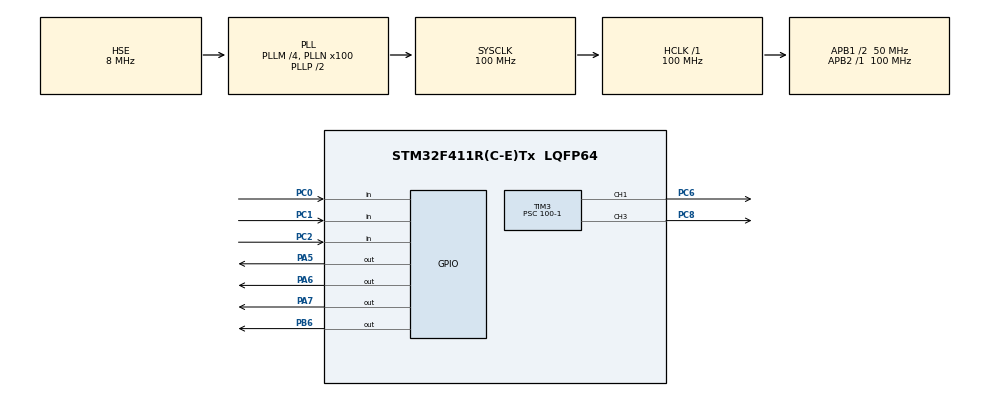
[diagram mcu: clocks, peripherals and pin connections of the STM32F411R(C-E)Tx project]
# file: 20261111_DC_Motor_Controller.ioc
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Mcu.Family=STM32F4
Mcu.Name=STM32F411R(C-E)Tx
Mcu.Package=LQFP64
NVIC.PriorityGroup=NVIC_PRIORITYGROUP_4
NVIC.TIM1_UP_TIM10_IRQn=true\:15\:0\:false\:false\:true\:false\:true\:true
NVIC.TimeBase=TIM1_UP_TIM10_IRQn
NVIC.TimeBaseIP=TIM10
PA13.Mode=Serial_Wire
PA13.Signal=SYS_JTMS-SWDIO
PA14.Mode=Serial_Wire
PA14.Signal=SYS_JTCK-SWCLK
PA5.Signal=GPIO_Output
PA6.Signal=GPIO_Output
PA7.Signal=GPIO_Output
PB6.Signal=GPIO_Output
PC0.Signal=GPIO_Input
PC1.Signal=GPIO_Input
PC2.Signal=GPIO_Input
PC6.Signal=S_TIM3_CH1
PC8.Signal=S_TIM3_CH3
PH0\ -\ OSC_IN.Mode=HSE-External-Oscillator
PH0\ -\ OSC_IN.Signal=RCC_OSC_IN
PH1\ -\ OSC_OUT.Mode=HSE-External-Oscillator
PH1\ -\ OSC_OUT.Signal=RCC_OSC_OUT
ProjectManager.HeapSize=0x200
ProjectManager.StackSize=0x400
ProjectManager.TargetToolchain=STM32CubeIDE
RCC.48MHZClocksFreq_Value=50000000
RCC.AHBFreq_Value=100000000
RCC.APB1CLKDivider=RCC_HCLK_DIV2
RCC.APB1Freq_Value=50000000
RCC.APB1TimFreq_Value=100000000
RCC.APB2Freq_Value=100000000
RCC.APB2TimFreq_Value=100000000
RCC.CortexFreq_Value=100000000
RCC.HCLKFreq_Value=100000000
RCC.HSE_VALUE=8000000
RCC.HSI_VALUE=16000000
RCC.LSE_VALUE=32768
RCC.PLLM=4
RCC.PLLN=100
RCC.PLLSourceVirtual=RCC_PLLSOURCE_HSE
RCC.SYSCLKFreq_VALUE=100000000
RCC.SYSCLKSource=RCC_SYSCLKSOURCE_PLLCLK
RCC.VCOOutputFreq_Value=200000000
SH.S_TIM3_CH1.0=TIM3_CH1,PWM Generation1 CH1
SH.S_TIM3_CH3.0=TIM3_CH3,PWM Generation3 CH3
TIM3.AutoReloadPreload=TIM_AUTORELOAD_PRELOAD_ENABLE
TIM3.Channel-PWM\ Generation1\ CH1=TIM_CHANNEL_1
TIM3.Channel-PWM\ Generation3\ CH3=TIM_CHANNEL_3
TIM3.Period=1000-1
TIM3.Prescaler=100-1
VP_SYS_VS_tim10.Mode=TIM10
VP_TIM3_VS_ClockSourceINT.Mode=Internal
board=custom

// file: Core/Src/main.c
/* USER CODE BEGIN Header */
/**
 ******************************************************************************
 * @file           : main.c
 * @brief          : Main program body
 ******************************************************************************
 * @attention
 *
 * Copyright (c) 2026 STMicroelectronics.
 * All rights reserved.
 *
 * This software is licensed under terms that can be found in the LICENSE file
 * in the root directory of this software component.
 * If no LICENSE file comes with this software, it is provided AS-IS.
 *
 ******************************************************************************
 */
/* USER CODE END Header */
#include "main.h"

/* USER CODE BEGIN Includes */
#include "driver/button/button.h"
#include "driver/DC_Motor/dcmotor.h"
/* USER CODE END Includes */

TIM_HandleTypeDef htim3;

void SystemClock_Config(void);
static void MX_GPIO_Init(void);
static void MX_TIM3_Init(void);

int main(void)
{

	/* MCU Configuration--------------------------------------------------------*/

	/* Reset of all peripherals, Initializes the Flash interface and the Systick. */
	HAL_Init();

	/* Configure the system clock */
	SystemClock_Config();

	/* Initialize all configured peripherals */
	MX_GPIO_Init();
	MX_TIM3_Init();
	/* USER CODE BEGIN 2 */
	__HAL_TIM_SET_COMPARE(&htim3,TIM_CHANNEL_1,500-1);
	HAL_GPIO_WritePin(GPIOB, GPIO_PIN_6, GPIO_PIN_SET);
	HAL_GPIO_WritePin(GPIOA, GPIO_PIN_7, GPIO_PIN_RESET);

	__HAL_TIM_SET_COMPARE(&htim3,TIM_CHANNEL_3,500-1);
	HAL_GPIO_WritePin(GPIOA, GPIO_PIN_5, GPIO_PIN_SET);
	HAL_GPIO_WritePin(GPIOA, GPIO_PIN_6, GPIO_PIN_RESET);

	HAL_TIM_PWM_Start(&htim3,TIM_CHANNEL_1);
	HAL_TIM_PWM_Start(&htim3,TIM_CHANNEL_3);

	typedef enum {STOP, FORWARD,BACKWARD,LEFT,RIGHT} car_state_t;
	car_state_t state = 0;

	button_t btn_run_stop, btn_left,btn_right;
	button_init(&btn_run_stop,GPIOC, GPIO_PIN_0);
	button_init(&btn_right,GPIOC, GPIO_PIN_1);
	button_init(&btn_left,GPIOC, GPIO_PIN_2);

	motor_t motor_L, motor_R;
	motor_init(&motor_L, &htim3, TIM_CHANNEL_1, GPIOB, GPIO_PIN_6, GPIOA, GPIO_PIN_7);
	motor_init(&motor_R, &htim3, TIM_CHANNEL_3, GPIOA, GPIO_PIN_6, GPIOA, GPIO_PIN_5);

	motor_set_speed(500);
	/* USER CODE END 2 */

	/* Infinite loop */
	/* USER CODE BEGIN WHILE */
	while (1)
	{
		switch(state)
		{
		case STOP:
			if(button_getState(&btn_run_stop) == ACT_RELEASE)
			{
				state = FORWARD;
			}

			break;
		case FORWARD:
			if(button_getState(&btn_run_stop) == ACT_RELEASE){
				state = STOP;
			}
			if(button_getState(&btn_right) == ACT_RELEASE){
				state = RIGHT;
			}
			if(button_getState(&btn_left) == ACT_RELEASE){
				state = LEFT;
			}
			car_goForward(&motor_L, &motor_R);
			break;
		case BACKWARD:
			if(button_getState(&btn_right) == ACT_RELEASE)
			{
				state = FORWARD;
			}
			car_goBackward(&motor_L, &motor_R);
			break;
		case LEFT:
			if(button_getState(&btn_left) == ACT_RELEASE)
			{
				state = BACKWARD;
			}
			car_goLeft(&motor_L, &motor_R);
			break;
		case RIGHT:
			if(button_getState(&btn_right) == ACT_RELEASE)
			{
				state = BACKWARD;
			}
			car_goRight(&motor_L, &motor_R);
			break;
		default:
			break;
		}

		/* USER CODE END WHILE */

	}
}

void SystemClock_Config(void)
{
	RCC_OscInitTypeDef RCC_OscInitStruct = {0};
	RCC_ClkInitTypeDef RCC_ClkInitStruct = {0};

	/** Configure the main internal regulator output voltage
	 */
	__HAL_RCC_PWR_CLK_ENABLE();
	__HAL_PWR_VOLTAGESCALING_CONFIG(PWR_REGULATOR_VOLTAGE_SCALE1);

	/** Initializes the RCC Oscillators according to the specified parameters
	 * in the RCC_OscInitTypeDef structure.
	 */
	RCC_OscInitStruct.OscillatorType = RCC_OSCILLATORTYPE_HSE;
	RCC_OscInitStruct.HSEState = RCC_HSE_ON;
	RCC_OscInitStruct.PLL.PLLState = RCC_PLL_ON;
	RCC_OscInitStruct.PLL.PLLSource = RCC_PLLSOURCE_HSE;
	RCC_OscInitStruct.PLL.PLLM = 4;
	RCC_OscInitStruct.PLL.PLLN = 100;
	RCC_OscInitStruct.PLL.PLLP = RCC_PLLP_DIV2;
	RCC_OscInitStruct.PLL.PLLQ = 4;
	if (HAL_RCC_OscConfig(&RCC_OscInitStruct) != HAL_OK)
	{
		Error_Handler();
	}

	/** Initializes the CPU, AHB and APB buses clocks
	 */
	RCC_ClkInitStruct.ClockType = RCC_CLOCKTYPE_HCLK|RCC_CLOCKTYPE_SYSCLK
			|RCC_CLOCKTYPE_PCLK1|RCC_CLOCKTYPE_PCLK2;
	RCC_ClkInitStruct.SYSCLKSource = RCC_SYSCLKSOURCE_PLLCLK;
	RCC_ClkInitStruct.AHBCLKDivider = RCC_SYSCLK_DIV1;
	RCC_ClkInitStruct.APB1CLKDivider = RCC_HCLK_DIV2;
	RCC_ClkInitStruct.APB2CLKDivider = RCC_HCLK_DIV1;

	if (HAL_RCC_ClockConfig(&RCC_ClkInitStruct, FLASH_LATENCY_3) != HAL_OK)
	{
		Error_Handler();
	}
}

static void MX_TIM3_Init(void)
{

	TIM_ClockConfigTypeDef sClockSourceConfig = {0};
	TIM_MasterConfigTypeDef sMasterConfig = {0};
	TIM_OC_InitTypeDef sConfigOC = {0};

	htim3.Instance = TIM3;
	htim3.Init.Prescaler = 100-1;
	htim3.Init.CounterMode = TIM_COUNTERMODE_UP;
	htim3.Init.Period = 1000-1;
	htim3.Init.ClockDivision = TIM_CLOCKDIVISION_DIV1;
	htim3.Init.AutoReloadPreload = TIM_AUTORELOAD_PRELOAD_ENABLE;
	if (HAL_TIM_Base_Init(&htim3) != HAL_OK)
	{
		Error_Handler();
	}
	sClockSourceConfig.ClockSource = TIM_CLOCKSOURCE_INTERNAL;
	if (HAL_TIM_ConfigClockSource(&htim3, &sClockSourceConfig) != HAL_OK)
	{
		Error_Handler();
	}
	if (HAL_TIM_PWM_Init(&htim3) != HAL_OK)
	{
		Error_Handler();
	}
	sMasterConfig.MasterOutputTrigger = TIM_TRGO_RESET;
	sMasterConfig.MasterSlaveMode = TIM_MASTERSLAVEMODE_DISABLE;
	if (HAL_TIMEx_MasterConfigSynchronization(&htim3, &sMasterConfig) != HAL_OK)
	{
		Error_Handler();
	}
	sConfigOC.OCMode = TIM_OCMODE_PWM1;
	sConfigOC.Pulse = 0;
	sConfigOC.OCPolarity = TIM_OCPOLARITY_HIGH;
	sConfigOC.OCFastMode = TIM_OCFAST_DISABLE;
	if (HAL_TIM_PWM_ConfigChannel(&htim3, &sConfigOC, TIM_CHANNEL_1) != HAL_OK)
	{
		Error_Handler();
	}
	if (HAL_TIM_PWM_ConfigChannel(&htim3, &sConfigOC, TIM_CHANNEL_3) != HAL_OK)
	{
		Error_Handler();
	}
	HAL_TIM_MspPostInit(&htim3);

}

static void MX_GPIO_Init(void)
{
	GPIO_InitTypeDef GPIO_InitStruct = {0};

	/* GPIO Ports Clock Enable */
	__HAL_RCC_GPIOH_CLK_ENABLE();
	__HAL_RCC_GPIOC_CLK_ENABLE();
	__HAL_RCC_GPIOA_CLK_ENABLE();
	__HAL_RCC_GPIOB_CLK_ENABLE();

	/*Configure GPIO pin Output Level */
	HAL_GPIO_WritePin(GPIOA, GPIO_PIN_5|GPIO_PIN_6|GPIO_PIN_7, GPIO_PIN_RESET);

	/*Configure GPIO pin Output Level */
	HAL_GPIO_WritePin(GPIOB, GPIO_PIN_6, GPIO_PIN_RESET);

	/*Configure GPIO pins : PC0 PC1 PC2 */
	GPIO_InitStruct.Pin = GPIO_PIN_0|GPIO_PIN_1|GPIO_PIN_2;
	GPIO_InitStruct.Mode = GPIO_MODE_INPUT;
	GPIO_InitStruct.Pull = GPIO_NOPULL;
	HAL_GPIO_Init(GPIOC, &GPIO_InitStruct);

	/*Configure GPIO pins : PA5 PA6 PA7 */
	GPIO_InitStruct.Pin = GPIO_PIN_5|GPIO_PIN_6|GPIO_PIN_7;
	GPIO_InitStruct.Mode = GPIO_MODE_OUTPUT_PP;
	GPIO_InitStruct.Pull = GPIO_NOPULL;
	GPIO_InitStruct.Speed = GPIO_SPEED_FREQ_LOW;
	HAL_GPIO_Init(GPIOA, &GPIO_InitStruct);

	/*Configure GPIO pin : PB6 */
	GPIO_InitStruct.Pin = GPIO_PIN_6;
	GPIO_InitStruct.Mode = GPIO_MODE_OUTPUT_PP;
	GPIO_InitStruct.Pull = GPIO_NOPULL;
	GPIO_InitStruct.Speed = GPIO_SPEED_FREQ_LOW;
	HAL_GPIO_Init(GPIOB, &GPIO_InitStruct);

}

void HAL_TIM_PeriodElapsedCallback(TIM_HandleTypeDef *htim)
{
	if (htim->Instance == TIM10)
	{
		HAL_IncTick();
	}
}

void Error_Handler(void)
{
	__disable_irq();
	while (1)
	{
	}
}
